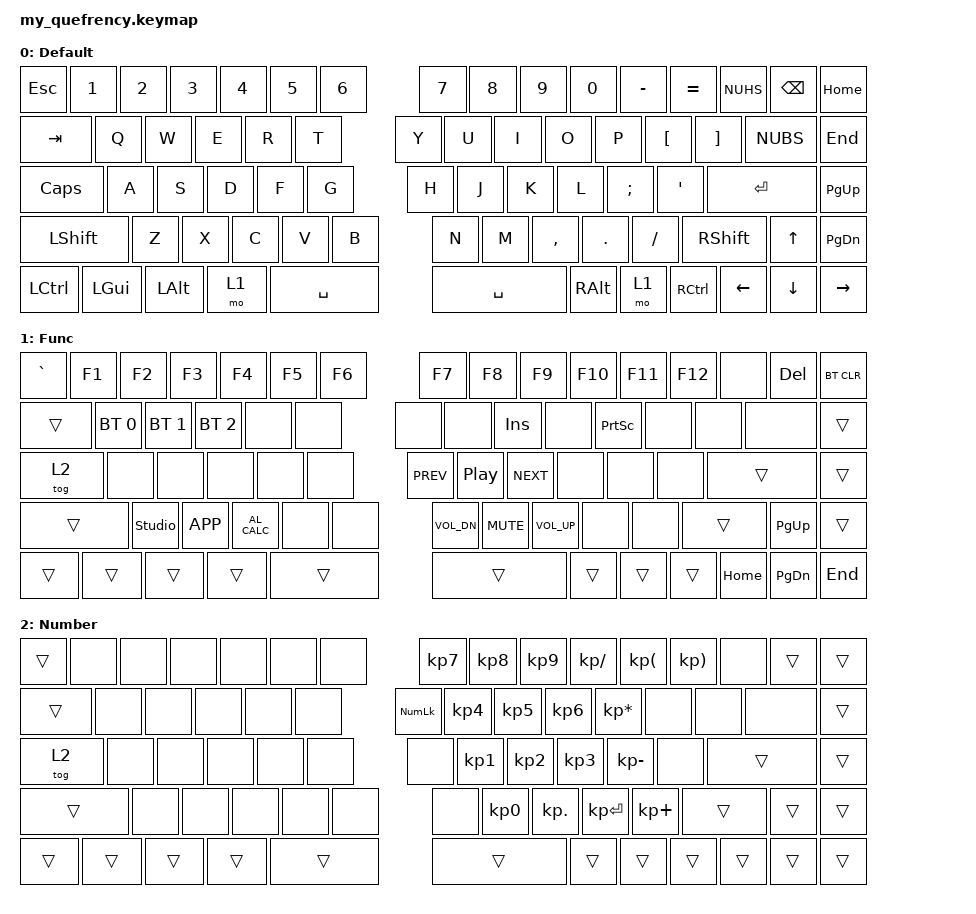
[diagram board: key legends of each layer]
/*
 * Copyright (c) 2020 The ZMK Contributors
 *
 * SPDX-License-Identifier: MIT
 */

#include <behaviors.dtsi>
#include <dt-bindings/zmk/bt.h>
#include <dt-bindings/zmk/keys.h>

/ {
    keymap {
        compatible = "zmk,keymap";

// ----------------------------------------------      -----------------------------------------------------
// | ESC  |  1   |  2  |  3   |  4  |  5  |  6  |      |  7  |  8  |  9  |  0  |  -  |  =  | # |BKSP|  `   |
// | TAB   |  Q   |  W  |  E   |  R  |  T  |        |  Y  |  U  |  I  |  O  |  P  |  [  |  ]  |  \  | DEL  |
// | LCTRL  |  A   |  S  |  D   |  F  |  G  |        |  H  |  J  |  K  |  L  |  ;  |  '  |   ENTER  | PGUP |
// | SHIFT   |  Z   |  X  |  C  |  V   |  B  |        |  N  |  M  |  ,  |  .  |  /  |  RSHFT  |  UP | PGDN |
// | LCTRL   | LGUI | LALT | FN  |   SPACE   |        |    SPACE    | RALT | FN | RCTRL | LFT | DWN | RGHT |
// -------------------------------------------        ------------------------------------------------------

        default_layer {
            display-name = "Default";
            bindings = <
    &kp ESC   &kp N1   &kp N2   &kp N3   &kp N4 &kp N5 &kp N6 /**/ &kp N7    &kp N8   &kp N9    &kp N0    &kp MINUS &kp EQUAL &kp NUHS  &kp BSPC &kp HOME 
    &kp TAB   &kp Q    &kp W    &kp E    &kp R  &kp T         /**/ &kp Y     &kp U    &kp I     &kp O     &kp P     &kp LBKT  &kp RBKT  &kp NUBS &kp END
    &kp CAPS  &kp A    &kp S    &kp D    &kp F  &kp G         /**/ &kp H     &kp J    &kp K     &kp L     &kp SEMI  &kp SQT   &kp RET            &kp PG_UP
    &kp LSHFT &kp Z    &kp X    &kp C    &kp V  &kp B         /**/ &kp N     &kp M    &kp COMMA &kp DOT   &kp FSLH  &kp RSHFT           &kp UP   &kp PG_DN
    &kp LCTRL &kp LGUI &kp LALT &mo 1    &kp SPACE            /**/ &kp SPACE                    &kp RALT  &mo 1     &kp RCTRL &kp LEFT  &kp DOWN &kp RIGHT
            >;
        };

// ----------------------------------------------     -----------------------------------------------------
// |   `  |  F1  |  F2 |  F3  |  F4 |  F5 |  F6 |     |  F7 |  F8 |  F9 | F10 | F11 | F12 | Delete |BT_CLR|
// |       | BT-0 | BT-1| BT-2 |     |     |       |     |     |     |     |     |     |     |     |      |
// | TOG 2  |      |     |      |     |     |       |Prev |Play |Next |     |     |     |          |      |
// |         |Unlock|Menu |Calc |      |     |       |Vol- |Mute |Vol+ |     |     |         |PgUp |      |
// |         |      |      |     |           |       |             |      |    |       |Home |PgDn | End  |
// -------------------------------------------       ------------------------------------------------------

        fn_layer {
            display-name = "Func";
            bindings = <
    &kp GRAVE &kp F1    &kp F2    &kp F3    &kp F4  &kp F5  &kp F6 /**/ &kp F7    &kp F8   &kp F9    &kp F10   &kp F11   &kp F12   &none    &kp DEL   &bt BT_CLR
    &trans    &bt BT_SEL 0 &bt BT_SEL 1 &bt BT_SEL 2 &none &none   /**/ &none     &none    &kp INS   &none     &kp PSCRN &none     &none    &none     &trans
    &tog 2    &none     &none     &none     &none    &none         /**/ &kp C_PREV &kp C_PP &kp C_NEXT &none   &none     &none     &trans             &trans
    &trans    &studio_unlock &kp K_APP &kp C_AL_CALC &none &none   /**/ &kp C_VOL_DN &kp C_MUTE &kp C_VOL_UP &none       &none     &trans   &kp PG_UP &trans
    &trans    &trans       &trans       &trans        &trans       /**/ &trans                  &trans       &trans      &trans    &kp HOME &kp PG_DN &kp END
            >;
        };

// ----------------------------------------------     -----------------------------------------------------
// |      |      |     |      |     |     |     |     |  7  |   8 |   9 |  /  |  (  |  )  |        |      |
// |       |      |     |      |     |     |       |NumLk|  4  |  5  |  6  |  *  |     |     |     |      |
// | TOG 2  |      |     |      |     |     |       |     |  1  |  2  |  3  |  -  |     |          |      |
// |         |      |     |     |      |     |       |     |  0  |  .  |Enter|  +  |         |     |      |
// |         |      |      |     |           |       |             |      |    |       |     |     |      |
// -------------------------------------------       ------------------------------------------------------

        num_layer {
            display-name = "Number";
            bindings = <
    &trans    &none     &none     &none     &none   &none   &none /**/ &kp KP_N7  &kp KP_N8 &kp KP_N9 &kp KP_SLASH &kp KP_LPAR &kp KP_RPAR &none &trans &trans
    &trans    &none     &none     &none     &none   &none         /**/ &kp KP_NUM &kp KP_N4 &kp KP_N5 &kp KP_N6    &kp KP_ASTERISK &none   &none &none  &trans
    &tog 2    &none     &none     &none     &none   &none         /**/ &none      &kp KP_N1 &kp KP_N2 &kp KP_N3    &kp KP_MINUS    &none   &trans       &trans
    &trans    &none     &none     &none     &none   &none         /**/ &none      &kp KP_N0 &kp KP_DOT &kp KP_ENTER &kp KP_PLUS    &trans  &trans       &trans
    &trans    &trans       &trans       &trans       &trans       /**/ &trans               &trans    &trans       &trans          &trans  &trans       &trans
            >;
        };

        extra1 {
            display-name = "Fn1";
            status = "reserved";
        };

        extra2 {
            display-name = "Fn2";
            status = "reserved";
        };
    };
};

// vim: ft=dts
